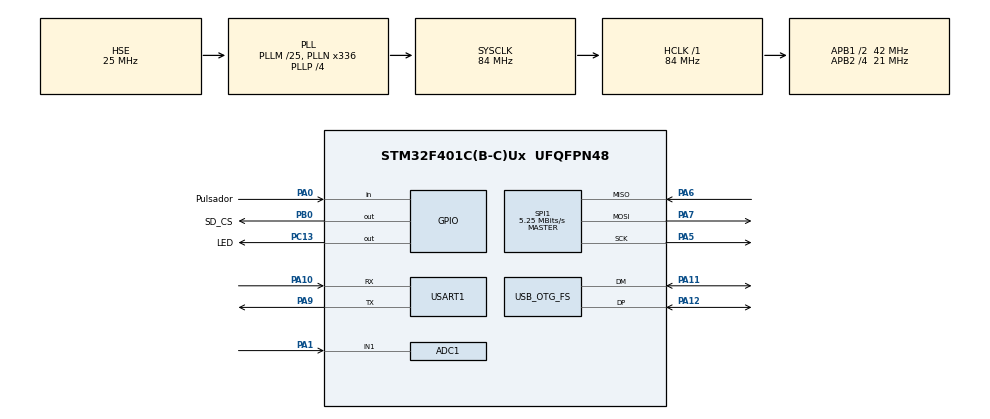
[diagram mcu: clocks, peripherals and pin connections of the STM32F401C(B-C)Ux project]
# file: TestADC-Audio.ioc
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ADC1.Channel-4\#ChannelRegularConversion=ADC_CHANNEL_1
ADC1.ClockPrescaler=ADC_CLOCK_SYNC_PCLK_DIV8
ADC1.ContinuousConvMode=ENABLE
ADC1.InjNumberOfConversion=0
ADC1.NbrOfConversionFlag=1
ADC1.Rank-4\#ChannelRegularConversion=1
ADC1.SamplingTime-4\#ChannelRegularConversion=ADC_SAMPLETIME_480CYCLES
ADC1.master=1
FATFS._MAX_SS=4096
Mcu.Family=STM32F4
Mcu.Name=STM32F401C(B-C)Ux
Mcu.Package=UFQFPN48
NVIC.ADC_IRQn=true\:0\:0\:false\:false\:true\:true\:true
NVIC.OTG_FS_IRQn=true\:0\:0\:false\:false\:true\:false\:true
NVIC.PriorityGroup=NVIC_PRIORITYGROUP_4
NVIC.TIM1_TRG_COM_TIM11_IRQn=true\:0\:0\:false\:false\:true\:true\:true
PA0-WKUP.GPIO_Label=Pulsador
PA0-WKUP.GPIO_PuPd=GPIO_PULLUP
PA0-WKUP.Signal=GPIO_Input
PA1.Signal=ADCx_IN1
PA10.Mode=Asynchronous
PA10.Signal=USART1_RX
PA11.Mode=Device_Only
PA11.Signal=USB_OTG_FS_DM
PA12.Mode=Device_Only
PA12.Signal=USB_OTG_FS_DP
PA13.Mode=Serial_Wire
PA13.Signal=SYS_JTMS-SWDIO
PA14.Mode=Serial_Wire
PA14.Signal=SYS_JTCK-SWCLK
PA5.Mode=Full_Duplex_Master
PA5.Signal=SPI1_SCK
PA6.Mode=Full_Duplex_Master
PA6.Signal=SPI1_MISO
PA7.Mode=Full_Duplex_Master
PA7.Signal=SPI1_MOSI
PA9.Mode=Asynchronous
PA9.Signal=USART1_TX
PB0.GPIO_Label=SD_CS
PB0.Signal=GPIO_Output
PC13-ANTI_TAMP.GPIO_Label=LED
PC13-ANTI_TAMP.PinState=GPIO_PIN_SET
PC13-ANTI_TAMP.Signal=GPIO_Output
PH0\ -\ OSC_IN.Mode=HSE-External-Oscillator
PH0\ -\ OSC_IN.Signal=RCC_OSC_IN
PH1\ -\ OSC_OUT.Mode=HSE-External-Oscillator
PH1\ -\ OSC_OUT.Signal=RCC_OSC_OUT
ProjectManager.HeapSize=0x200
ProjectManager.StackSize=0x400
ProjectManager.TargetToolchain=STM32CubeIDE
RCC.48MHZClocksFreq_Value=48000000
RCC.AHBFreq_Value=84000000
RCC.APB1CLKDivider=RCC_HCLK_DIV2
RCC.APB1Freq_Value=42000000
RCC.APB1TimFreq_Value=84000000
RCC.APB2CLKDivider=RCC_HCLK_DIV4
RCC.APB2Freq_Value=21000000
RCC.APB2TimFreq_Value=42000000
RCC.CortexFreq_Value=84000000
RCC.HCLKFreq_Value=84000000
RCC.HSE_VALUE=25000000
RCC.HSI_VALUE=16000000
RCC.LSE_VALUE=32768
RCC.PLLM=25
RCC.PLLN=336
RCC.PLLP=RCC_PLLP_DIV4
RCC.PLLQ=7
RCC.SYSCLKFreq_VALUE=84000000
RCC.SYSCLKSource=RCC_SYSCLKSOURCE_PLLCLK
RCC.VCOOutputFreq_Value=336000000
SH.ADCx_IN1.0=ADC1_IN1,IN1
SPI1.BaudRatePrescaler=SPI_BAUDRATEPRESCALER_4
SPI1.CalculateBaudRate=5.25 MBits/s
SPI1.Direction=SPI_DIRECTION_2LINES
SPI1.Mode=SPI_MODE_MASTER
SPI1.VirtualType=VM_MASTER
TIM11.AutoReloadPreload=TIM_AUTORELOAD_PRELOAD_ENABLE
TIM11.Period=5000-1
TIM11.Prescaler=4200-1
USART1.VirtualMode=VM_ASYNC
USB_DEVICE.CLASS_NAME_FS=CDC
USB_DEVICE.VirtualMode=Cdc
USB_DEVICE.VirtualModeFS=Cdc_FS
USB_OTG_FS.VirtualMode=Device_Only
VP_FATFS_VS_Generic.Mode=User_defined
VP_TIM11_VS_ClockSourceINT.Mode=Enable_Timer
VP_USB_DEVICE_VS_USB_DEVICE_CDC_FS.Mode=CDC_FS
board=custom

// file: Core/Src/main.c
/* USER CODE BEGIN Header */
/**
 ******************************************************************************
 * @file           : main.c
 * @brief          : Main program body
 ******************************************************************************
 * @attention
 *
 * Copyright (c) 2022 STMicroelectronics.
 * All rights reserved.
 *
 * This software is licensed under terms that can be found in the LICENSE file
 * in the root directory of this software component.
 * If no LICENSE file comes with this software, it is provided AS-IS.
 *
 ******************************************************************************
 */
/* USER CODE END Header */
#include "main.h"
#include "fatfs.h"
#include "usb_device.h"

/* USER CODE BEGIN Includes */
#include "funcionesUsuario.h"
#include "FIR.h"
#include "make_wav.h"
//#include "math.h"
/* USER CODE END Includes */

ADC_HandleTypeDef hadc1;

SPI_HandleTypeDef hspi1;

TIM_HandleTypeDef htim11;

UART_HandleTypeDef huart1;

void SystemClock_Config(void);
static void MX_GPIO_Init(void);
static void MX_ADC1_Init(void);
static void MX_SPI1_Init(void);
static void MX_TIM11_Init(void);
static void MX_USART1_UART_Init(void);

/* USER CODE BEGIN 0 */

//Clar buffer
/* USER CODE END 0 */

int main(void)
{

  /* MCU Configuration--------------------------------------------------------*/

  /* Reset of all peripherals, Initializes the Flash interface and the Systick. */
  HAL_Init();

  /* Configure the system clock */
  SystemClock_Config();

  /* Initialize all configured peripherals */
  MX_GPIO_Init();
  MX_ADC1_Init();
  MX_USB_DEVICE_Init();
  MX_SPI1_Init();
  MX_FATFS_Init();
  MX_TIM11_Init();
  MX_USART1_UART_Init();
  /* USER CODE BEGIN 2 */

	EjecutarSetup(); //Funcion que contiene todas las funciones previas al Loop

  /* USER CODE END 2 */

  /* Infinite loop */
	while (1) {

    /* USER CODE BEGIN 3 */
		EjecutarLoop();
	}
  /* USER CODE END 3 */
}

void SystemClock_Config(void)
{
  RCC_OscInitTypeDef RCC_OscInitStruct = {0};
  RCC_ClkInitTypeDef RCC_ClkInitStruct = {0};

  /** Configure the main internal regulator output voltage
  */
  __HAL_RCC_PWR_CLK_ENABLE();
  __HAL_PWR_VOLTAGESCALING_CONFIG(PWR_REGULATOR_VOLTAGE_SCALE2);
  /** Initializes the RCC Oscillators according to the specified parameters
  * in the RCC_OscInitTypeDef structure.
  */
  RCC_OscInitStruct.OscillatorType = RCC_OSCILLATORTYPE_HSE;
  RCC_OscInitStruct.HSEState = RCC_HSE_ON;
  RCC_OscInitStruct.PLL.PLLState = RCC_PLL_ON;
  RCC_OscInitStruct.PLL.PLLSource = RCC_PLLSOURCE_HSE;
  RCC_OscInitStruct.PLL.PLLM = 25;
  RCC_OscInitStruct.PLL.PLLN = 336;
  RCC_OscInitStruct.PLL.PLLP = RCC_PLLP_DIV4;
  RCC_OscInitStruct.PLL.PLLQ = 7;
  if (HAL_RCC_OscConfig(&RCC_OscInitStruct) != HAL_OK)
  {
    Error_Handler();
  }
  /** Initializes the CPU, AHB and APB buses clocks
  */
  RCC_ClkInitStruct.ClockType = RCC_CLOCKTYPE_HCLK|RCC_CLOCKTYPE_SYSCLK
                              |RCC_CLOCKTYPE_PCLK1|RCC_CLOCKTYPE_PCLK2;
  RCC_ClkInitStruct.SYSCLKSource = RCC_SYSCLKSOURCE_PLLCLK;
  RCC_ClkInitStruct.AHBCLKDivider = RCC_SYSCLK_DIV1;
  RCC_ClkInitStruct.APB1CLKDivider = RCC_HCLK_DIV2;
  RCC_ClkInitStruct.APB2CLKDivider = RCC_HCLK_DIV4;

  if (HAL_RCC_ClockConfig(&RCC_ClkInitStruct, FLASH_LATENCY_2) != HAL_OK)
  {
    Error_Handler();
  }
}

static void MX_ADC1_Init(void)
{

  ADC_ChannelConfTypeDef sConfig = {0};

  /** Configure the global features of the ADC (Clock, Resolution, Data Alignment and number of conversion)
  */
  hadc1.Instance = ADC1;
  hadc1.Init.ClockPrescaler = ADC_CLOCK_SYNC_PCLK_DIV8;
  hadc1.Init.Resolution = ADC_RESOLUTION_12B;
  hadc1.Init.ScanConvMode = DISABLE;
  hadc1.Init.ContinuousConvMode = ENABLE;
  hadc1.Init.DiscontinuousConvMode = DISABLE;
  hadc1.Init.ExternalTrigConvEdge = ADC_EXTERNALTRIGCONVEDGE_NONE;
  hadc1.Init.ExternalTrigConv = ADC_SOFTWARE_START;
  hadc1.Init.DataAlign = ADC_DATAALIGN_RIGHT;
  hadc1.Init.NbrOfConversion = 1;
  hadc1.Init.DMAContinuousRequests = DISABLE;
  hadc1.Init.EOCSelection = ADC_EOC_SINGLE_CONV;
  if (HAL_ADC_Init(&hadc1) != HAL_OK)
  {
    Error_Handler();
  }
  /** Configure for the selected ADC regular channel its corresponding rank in the sequencer and its sample time.
  */
  sConfig.Channel = ADC_CHANNEL_1;
  sConfig.Rank = 1;
  sConfig.SamplingTime = ADC_SAMPLETIME_480CYCLES;
  if (HAL_ADC_ConfigChannel(&hadc1, &sConfig) != HAL_OK)
  {
    Error_Handler();
  }

}

static void MX_SPI1_Init(void)
{

  /* SPI1 parameter configuration*/
  hspi1.Instance = SPI1;
  hspi1.Init.Mode = SPI_MODE_MASTER;
  hspi1.Init.Direction = SPI_DIRECTION_2LINES;
  hspi1.Init.DataSize = SPI_DATASIZE_8BIT;
  hspi1.Init.CLKPolarity = SPI_POLARITY_LOW;
  hspi1.Init.CLKPhase = SPI_PHASE_1EDGE;
  hspi1.Init.NSS = SPI_NSS_SOFT;
  hspi1.Init.BaudRatePrescaler = SPI_BAUDRATEPRESCALER_4;
  hspi1.Init.FirstBit = SPI_FIRSTBIT_MSB;
  hspi1.Init.TIMode = SPI_TIMODE_DISABLE;
  hspi1.Init.CRCCalculation = SPI_CRCCALCULATION_DISABLE;
  hspi1.Init.CRCPolynomial = 10;
  if (HAL_SPI_Init(&hspi1) != HAL_OK)
  {
    Error_Handler();
  }

}

static void MX_TIM11_Init(void)
{

  htim11.Instance = TIM11;
  htim11.Init.Prescaler = 4200-1;
  htim11.Init.CounterMode = TIM_COUNTERMODE_UP;
  htim11.Init.Period = 5000-1;
  htim11.Init.ClockDivision = TIM_CLOCKDIVISION_DIV1;
  htim11.Init.AutoReloadPreload = TIM_AUTORELOAD_PRELOAD_ENABLE;
  if (HAL_TIM_Base_Init(&htim11) != HAL_OK)
  {
    Error_Handler();
  }

}

static void MX_USART1_UART_Init(void)
{

  huart1.Instance = USART1;
  huart1.Init.BaudRate = 115200;
  huart1.Init.WordLength = UART_WORDLENGTH_8B;
  huart1.Init.StopBits = UART_STOPBITS_1;
  huart1.Init.Parity = UART_PARITY_NONE;
  huart1.Init.Mode = UART_MODE_TX_RX;
  huart1.Init.HwFlowCtl = UART_HWCONTROL_NONE;
  huart1.Init.OverSampling = UART_OVERSAMPLING_16;
  if (HAL_UART_Init(&huart1) != HAL_OK)
  {
    Error_Handler();
  }

}

static void MX_GPIO_Init(void)
{
  GPIO_InitTypeDef GPIO_InitStruct = {0};

  /* GPIO Ports Clock Enable */
  __HAL_RCC_GPIOC_CLK_ENABLE();
  __HAL_RCC_GPIOH_CLK_ENABLE();
  __HAL_RCC_GPIOA_CLK_ENABLE();
  __HAL_RCC_GPIOB_CLK_ENABLE();

  /*Configure GPIO pin Output Level */
  HAL_GPIO_WritePin(LED_GPIO_Port, LED_Pin, GPIO_PIN_SET);

  /*Configure GPIO pin Output Level */
  HAL_GPIO_WritePin(SD_CS_GPIO_Port, SD_CS_Pin, GPIO_PIN_RESET);

  /*Configure GPIO pin : LED_Pin */
  GPIO_InitStruct.Pin = LED_Pin;
  GPIO_InitStruct.Mode = GPIO_MODE_OUTPUT_PP;
  GPIO_InitStruct.Pull = GPIO_NOPULL;
  GPIO_InitStruct.Speed = GPIO_SPEED_FREQ_LOW;
  HAL_GPIO_Init(LED_GPIO_Port, &GPIO_InitStruct);

  /*Configure GPIO pin : Pulsador_Pin */
  GPIO_InitStruct.Pin = Pulsador_Pin;
  GPIO_InitStruct.Mode = GPIO_MODE_INPUT;
  GPIO_InitStruct.Pull = GPIO_PULLUP;
  HAL_GPIO_Init(Pulsador_GPIO_Port, &GPIO_InitStruct);

  /*Configure GPIO pin : SD_CS_Pin */
  GPIO_InitStruct.Pin = SD_CS_Pin;
  GPIO_InitStruct.Mode = GPIO_MODE_OUTPUT_PP;
  GPIO_InitStruct.Pull = GPIO_NOPULL;
  GPIO_InitStruct.Speed = GPIO_SPEED_FREQ_LOW;
  HAL_GPIO_Init(SD_CS_GPIO_Port, &GPIO_InitStruct);

}

/* USER CODE BEGIN 4 */
void HAL_ADC_ConvCpltCallback(ADC_HandleTypeDef *hadc) {
	//Tenemos dos vectores buffer

	if (buff1 && (adcCount1 < adcBuff1Size)) {
		adcBuff1[adcCount1++] = HAL_ADC_GetValue(&hadc1);
		samples_count++;
	}else if (buff2 && (adcCount2 < adcBuff2Size))
	{
		adcBuff2[adcCount2++] = HAL_ADC_GetValue(&hadc1);
		samples_count++;
	}else
	{
		//HAL_GPIO_TogglePin(LED_GPIO_Port, LED_Pin); //DEBUG
		//Encender bit de falla
	}
	/*If continuousconversion mode is DISABLED uncomment below*/
	HAL_ADC_Start_IT(&hadc1);
}

// Callback: timer has rolled over
void HAL_TIM_PeriodElapsedCallback(TIM_HandleTypeDef *htim)
{
  // Check which version of the timer triggered this callback and toggle LED

    HAL_GPIO_TogglePin(LED_GPIO_Port, LED_Pin);

}
/* USER CODE END 4 */

void Error_Handler(void)
{
	__disable_irq();
	while (1) {
	}
}
